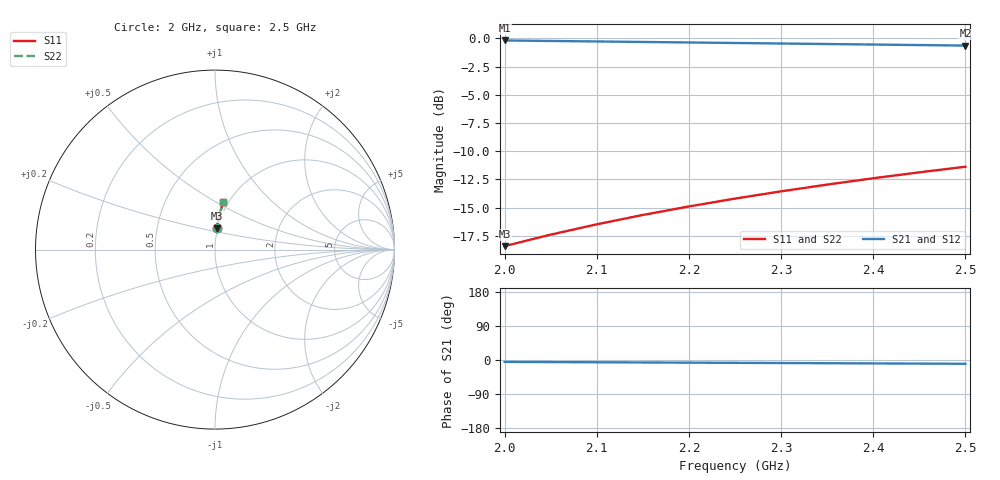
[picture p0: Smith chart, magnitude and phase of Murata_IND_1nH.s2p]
! Murata 1nH inductor S2P
! Simulated S-parameters for a 1nH inductor
! Frequency: 2.0 - 2.5 GHz
# GHz S MA R 50
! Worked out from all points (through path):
!   11 points, 2 GHz to 2.5 GHz, reference 50 ohm
!   highest |S21| = -0.18 dB at 2 GHz (marker M1); lowest = -0.6 dB at 2.5 GHz (marker M2)
!   group delay of S21, straight-line fit = 27.8 ps
!   lowest |S11| = -18.4 dB at 2 GHz (marker M3), VSWR 1.27, Z = 49.6 + j12 ohm
!   |S11| at or under -10 dB: start of sweep to end of sweep
!   |S22| runs from -18.4 to -11.4 dB; largest |S21 - S12| = 0
2  0.12 85.0  0.98 -5.0  0.98 -5.0  0.12 85.0
2.05  0.135 84.5  0.975 -5.5  0.975 -5.5  0.135 84.5
2.1  0.15 84.0  0.97 -6.0  0.97 -6.0  0.15 84.0
2.15  0.165 83.5  0.965 -6.5  0.965 -6.5  0.165 83.5
2.2  0.18 83.0  0.96 -7.0  0.96 -7.0  0.18 83.0
2.25  0.195 82.5  0.955 -7.5  0.955 -7.5  0.195 82.5
2.3  0.21 82.0  0.95 -8.0  0.95 -8.0  0.21 82.0
2.35  0.225 81.5  0.945 -8.5  0.945 -8.5  0.225 81.5
2.4  0.24 81.0  0.94 -9.0  0.94 -9.0  0.24 81.0
2.45  0.255 80.5  0.935 -9.5  0.935 -9.5  0.255 80.5
2.5  0.27 80.0  0.93 -10.0  0.93 -10.0  0.27 80.0
